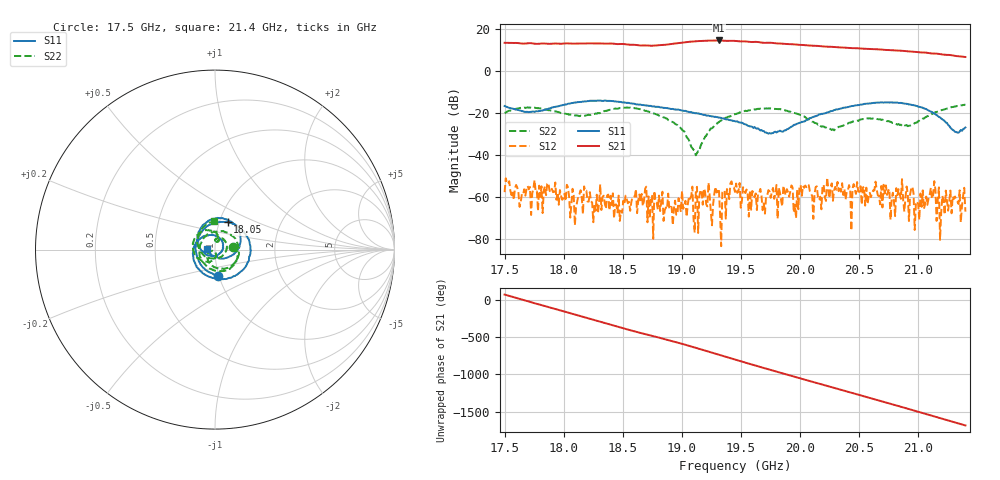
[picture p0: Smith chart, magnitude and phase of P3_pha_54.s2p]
!Created with skrf (http://scikit-rf.org).
# GHz S RI R 50.0
!freq ReS11 ImS11 ReS21 ImS21 ReS12 ImS12 ReS22 ImS22
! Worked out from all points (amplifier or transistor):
!   401 points, 17.5 GHz to 21.4 GHz, reference 50 ohm
!   highest |S21| = 14.6 dB at 19.31 GHz (marker M1)
!   |S21| within 3 dB of that: start of sweep to 20.25 GHz
!   unconditionally stable (mu >= 1): start of sweep to end of sweep
!   at 18.14 GHz: K = 71.96, MAG = 13.3 dB, |S12| = -56.7 dB
!   at 19.45 GHz: K = 70.87, MAG = 14.4 dB, |S12| = -57.5 dB
!   at 21.4 GHz: K = 495.87, MAG = 6.8 dB, |S12| = -66.9 dB
!   S11 on the Smith chart (normalised r, x): 17.5 GHz: 0.99, -0.30; 18.05 GHz: 1.09, +0.34; 21.4 GHz: 0.91, +0.00
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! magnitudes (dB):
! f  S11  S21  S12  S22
! 17.5 GHz  -16.6  13.5  -57.6  -20.0
! 18.05 GHz  -15.5  13.2  -59.9  -20.8
! 18.15 GHz  -14.6  13.2  -60.3  -21.3
! 18.81 GHz  -17.0  12.3  -59.3  -21.1
! 19.13 GHz  -20.0  14.2  -55.1  -39.0
! 19.25 GHz  -21.6  14.5  -73.4  -27.2
! 19.29 GHz  -21.9  14.6  -57.8  -25.1
! 19.31 GHz  -22.1  14.6  -55.9  -24.3
! 19.45 GHz  -23.8  14.4  -57.5  -20.5
! 19.69 GHz  -28.5  13.4  -62.9  -17.9
! 19.75 GHz  -29.7  13.5  -60.3  -17.8
! 19.92 GHz  -26.7  12.8  -57.3  -19.3
! 19.97 GHz  -25.3  12.6  -69.9  -20.2
! 20.05 GHz  -23.2  12.3  -55.2  -22.4
! 20.1 GHz  -22.0  12.1  -59.4  -24.1
! 20.34 GHz  -18.0  11.3  -54.9  -26.4
! 20.76 GHz  -15.0  10.0  -56.1  -24.0
! 20.94 GHz  -16.0  9.3  -55.8  -25.6
! 20.99 GHz  -16.6  9.1  -62.0  -24.4
! 21.13 GHz  -19.9  8.4  -59.2  -20.2
! 21.18 GHz  -21.8  8.2  -55.3  -19.1
! 21.4 GHz  -26.8  6.7  -66.9  -16.0
